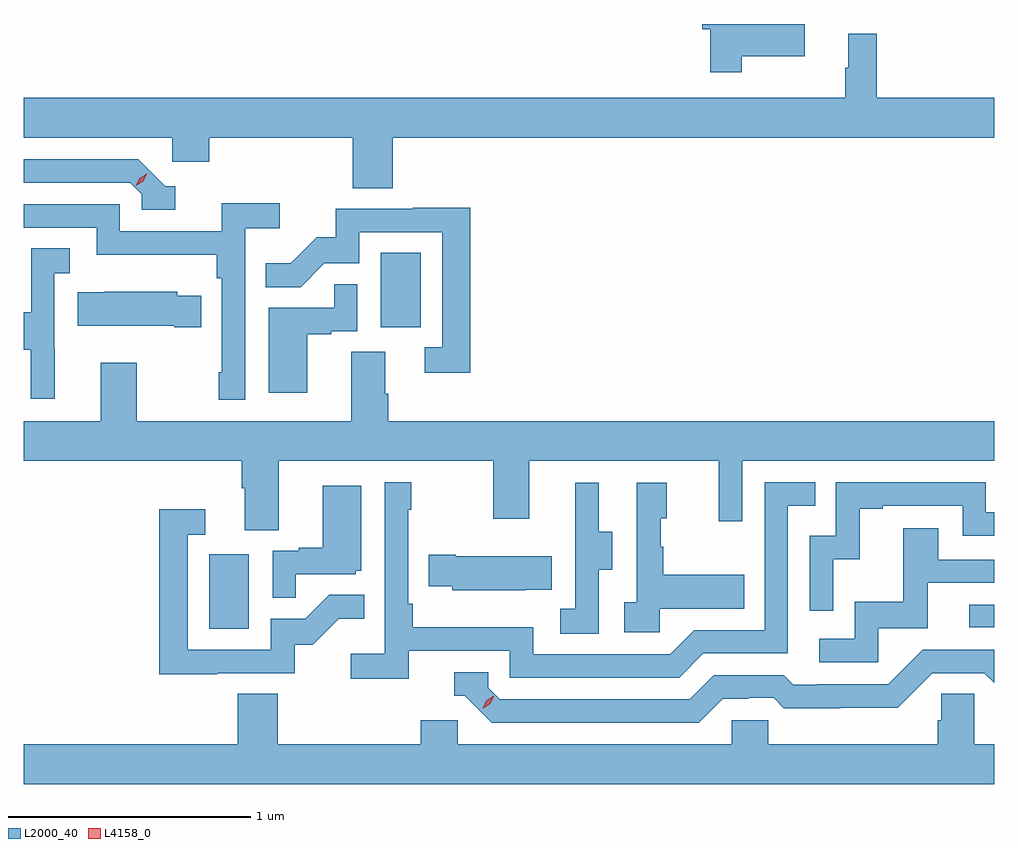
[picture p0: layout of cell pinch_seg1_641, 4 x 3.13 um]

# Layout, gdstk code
import gdstk
lib = gdstk.Library(unit=1e-6, precision=1e-09)
def R(c, l, rs):  # rectangles x0, y0, x1, y1
    for r in rs: c.add(gdstk.rectangle(r[:2], r[2:], *l))
def P(c, l, *ps):  # polygons
    for p in ps: c.add(gdstk.Polygon(p, *l))
L2000_40 = (2000, 40)
L4158_0 = (4158, 0)

pinch_seg1_641 = lib.new_cell('pinch_seg1_641')
R(pinch_seg1_641, L2000_40, [(1102.16,509.748,1102.324,510.055), (1105.293,509.754,1105.396,509.847), (1102.868,510.99,1103.032,511.297)])
P(pinch_seg1_641, L2000_40, [(1104.355,512.108),(1104.616,512.108),(1104.616,512.241),(1104.192,512.241),(1104.192,512.219),(1104.226,512.219),(1104.226,512.043),(1104.355,512.043)],
  [(1102.916,511.772),(1105.396,511.772),(1105.396,511.936),(1104.911,511.936),(1104.911,512.2),(1104.794,512.2),(1104.794,512.06),(1104.783,512.06),(1104.783,511.936),(1101.396,511.936),(1101.396,511.772),(1102.008,511.772),(1102.008,511.674),(1102.16,511.674),(1102.16,511.772),(1102.751,511.772),(1102.751,511.564),(1102.916,511.564)],
  [(1102.021,511.572),(1101.978,511.572),(1101.867,511.683),(1101.396,511.683),(1101.396,511.587),(1101.834,511.587),(1101.882,511.539),(1101.882,511.476),(1102.021,511.476)],
  [(1102.308,511.4),(1102.45,511.4),(1102.45,511.502),(1102.211,511.502),(1102.211,511.386),(1101.792,511.386),(1101.792,511.497),(1101.396,511.497),(1101.396,511.401),(1101.696,511.401),(1101.696,511.289),(1102.192,511.289),(1102.192,511.193),(1102.212,511.193),(1102.212,510.805),(1102.2,510.805),(1102.2,510.693),(1102.308,510.693)],
  [(1103.237,511.484),(1102.999,511.484),(1102.999,511.479),(1102.681,511.479),(1102.681,511.362),(1102.604,511.362),(1102.497,511.255),(1102.393,511.255),(1102.393,511.156),(1102.537,511.156),(1102.635,511.254),(1102.779,511.254),(1102.779,511.383),(1103.121,511.383),(1103.121,510.909),(1103.049,510.909),(1103.049,510.804),(1103.237,510.804)],
  [(1101.524,510.909),(1101.522,510.909),(1101.522,511.213),(1101.586,511.213),(1101.586,511.316),(1101.426,511.316),(1101.426,511.053),(1101.396,511.053),(1101.396,510.898),(1101.425,510.898),(1101.425,510.696),(1101.524,510.696)],
  [(1102.564,510.963),(1102.664,510.963),(1102.664,510.975),(1102.77,510.975),(1102.77,511.169),(1102.675,511.169),(1102.675,511.071),(1102.406,511.071),(1102.406,510.72),(1102.564,510.72)],
  [(1102.127,511.12),(1102.029,511.12),(1102.029,511.138),(1101.727,511.138),(1101.727,511.135),(1101.619,511.135),(1101.619,510.998),(1102.016,510.998),(1102.016,510.991),(1102.127,510.991)],
  [(1102.447,510.44),(1103.332,510.44),(1103.332,510.201),(1103.479,510.201),(1103.479,510.44),(1104.26,510.44),(1104.26,510.192),(1104.357,510.192),(1104.357,510.44),(1105.396,510.44),(1105.396,510.604),(1102.898,510.604),(1102.898,510.716),(1102.885,510.716),(1102.885,510.89),(1102.745,510.89),(1102.745,510.604),(1101.861,510.604),(1101.861,510.844),(1101.713,510.844),(1101.713,510.604),(1101.396,510.604),(1101.396,510.44),(1102.295,510.44),(1102.295,510.328),(1102.307,510.328),(1102.307,510.154),(1102.447,510.154)],
  [(1102.982,509.658),(1103.4,509.658),(1103.4,509.547),(1104.097,509.547),(1104.196,509.646),(1104.546,509.646),(1104.546,510.255),(1104.659,510.255),(1104.659,510.351),(1104.45,510.351),(1104.45,509.742),(1104.159,509.742),(1104.06,509.643),(1103.496,509.643),(1103.496,509.755),(1103,509.755),(1103,509.851),(1102.98,509.851),(1102.98,510.239),(1102.993,510.239),(1102.993,510.352),(1102.884,510.352),(1102.884,509.644),(1102.743,509.644),(1102.743,509.542),(1102.982,509.542)],
  [(1104.732,510.035),(1104.842,510.035),(1104.842,510.243),(1104.937,510.243),(1104.937,510.255),(1105.266,510.255),(1105.266,510.132),(1105.396,510.132),(1105.396,510.228),(1105.362,510.228),(1105.362,510.351),(1104.744,510.351),(1104.744,510.132),(1104.636,510.132),(1104.636,509.823),(1104.732,509.823)],
  [(1103.766,509.992),(1103.821,509.992),(1103.821,510.147),(1103.767,510.147),(1103.767,510.349),(1103.669,510.349),(1103.669,510.135),(1103.67,510.135),(1103.67,509.831),(1103.607,509.831),(1103.607,509.728),(1103.766,509.728)],
  [(1104.018,509.831),(1104.365,509.831),(1104.365,509.971),(1104.031,509.971),(1104.031,510.086),(1104.021,510.086),(1104.021,510.204),(1104.046,510.204),(1104.046,510.349),(1103.922,510.349),(1103.922,509.858),(1103.871,509.858),(1103.871,509.733),(1104.018,509.733)],
  [(1102.517,509.973),(1102.764,509.973),(1102.764,509.988),(1102.786,509.988),(1102.786,510.337),(1102.628,510.337),(1102.628,510.082),(1102.529,510.082),(1102.529,510.069),(1102.422,510.069),(1102.422,509.875),(1102.517,509.875)],
  [(1102.193,509.565),(1102.512,509.565),(1102.512,509.682),(1102.588,509.682),(1102.695,509.789),(1102.799,509.789),(1102.799,509.888),(1102.655,509.888),(1102.557,509.79),(1102.413,509.79),(1102.413,509.661),(1102.071,509.661),(1102.071,510.135),(1102.144,510.135),(1102.144,510.241),(1101.955,510.241),(1101.955,509.56),(1102.193,509.56)],
  [(1104.918,509.751),(1105.123,509.751),(1105.123,509.937),(1105.396,509.937),(1105.396,510.033),(1105.165,510.033),(1105.165,510.163),(1105.021,510.163),(1105.021,509.86),(1104.822,509.86),(1104.822,509.706),(1104.675,509.706),(1104.675,509.61),(1104.918,509.61)],
  [(1103.465,509.909),(1103.573,509.909),(1103.573,510.046),(1103.176,510.046),(1103.176,510.054),(1103.065,510.054),(1103.065,509.924),(1103.163,509.924),(1103.163,509.906),(1103.465,509.906)],
  [(1104.277,509.46),(1104.384,509.46),(1104.384,509.463),(1104.487,509.463),(1104.529,509.421),(1104.762,509.421),(1104.762,509.423),(1104.998,509.423),(1105.14,509.565),(1105.356,509.565),(1105.396,509.525),(1105.396,509.661),(1105.101,509.661),(1104.96,509.52),(1104.667,509.52),(1104.667,509.517),(1104.568,509.517),(1104.529,509.556),(1104.24,509.556),(1104.141,509.457),(1103.358,509.457),(1103.31,509.505),(1103.31,509.568),(1103.171,509.568),(1103.171,509.472),(1103.214,509.472),(1103.325,509.361),(1104.178,509.361)],
  [(1105.396,509.272),(1105.314,509.272),(1105.314,509.48),(1105.177,509.48),(1105.177,509.37),(1105.163,509.37),(1105.163,509.272),(1104.465,509.272),(1104.465,509.37),(1104.315,509.37),(1104.315,509.272),(1103.184,509.272),(1103.184,509.37),(1103.033,509.37),(1103.033,509.272),(1102.442,509.272),(1102.442,509.48),(1102.277,509.48),(1102.277,509.272),(1101.396,509.272),(1101.396,509.108),(1105.396,509.108)])
P(pinch_seg1_641, L4158_0, [(1101.857,511.574),(1101.857,511.574),(1101.874,511.606),(1101.904,511.625),(1101.905,511.625),(1101.905,511.625),(1101.888,511.593),(1101.858,511.574)],
  [(1103.287,509.419),(1103.287,509.419),(1103.303,509.451),(1103.334,509.471),(1103.334,509.471),(1103.334,509.47),(1103.318,509.438),(1103.287,509.419)])

lib.write_gds('pinch_seg1_641.gds')
